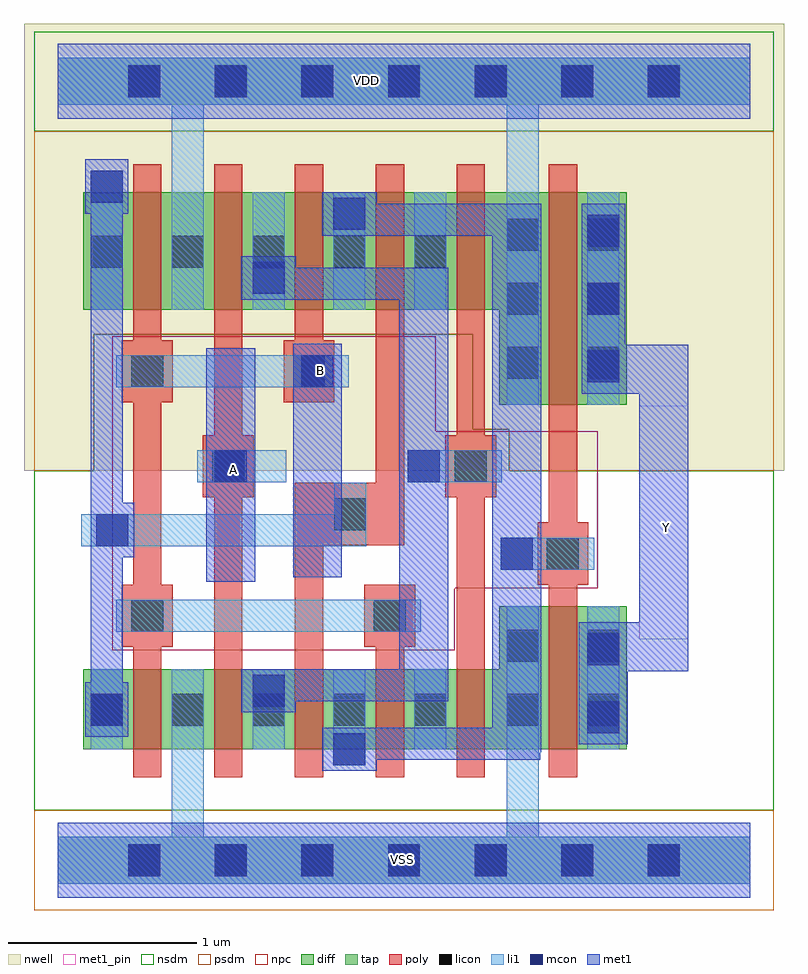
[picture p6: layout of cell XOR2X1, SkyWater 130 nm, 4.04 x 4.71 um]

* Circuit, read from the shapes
.subckt XOR2X1 A B VDD VSS Y
XM1 VSS B n1 VSS sky130_fd_pr__nfet_01v8 w=0.425 l=0.15
XM2 n2 A VSS VSS sky130_fd_pr__nfet_01v8 w=0.425 l=0.15
XM3 n3 n1 n2 VSS sky130_fd_pr__nfet_01v8 w=0.425 l=0.15
XM4 n4 B n3 VSS sky130_fd_pr__nfet_01v8 w=0.425 l=0.15
XM5 VSS n2 n4 VSS sky130_fd_pr__nfet_01v8 w=0.425 l=0.15
XM6 Y n3 VSS VSS sky130_fd_pr__nfet_01v8 w=0.76 l=0.15
XM7 VDD B n1 VDD sky130_fd_pr__pfet_01v8 w=0.625 l=0.15
XM8 n2 A VDD VDD sky130_fd_pr__pfet_01v8 w=0.625 l=0.15
XM9 n3 B n2 VDD sky130_fd_pr__pfet_01v8 w=0.625 l=0.15
XM10 n5 n1 n3 VDD sky130_fd_pr__pfet_01v8 w=0.625 l=0.15
XM11 VDD n2 n5 VDD sky130_fd_pr__pfet_01v8 w=0.625 l=0.15
XM12 Y n3 VDD VDD sky130_fd_pr__pfet_01v8 w=1.13 l=0.15
.ends

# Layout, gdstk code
from math import pi, radians
import gdstk
lib = gdstk.Library(unit=1e-6, precision=1e-09)
def R(c, l, rs):  # rectangles x0, y0, x1, y1
    for r in rs: c.add(gdstk.rectangle(r[:2], r[2:], *l))
def A(c, l, x, y, w, h, nx, ny, dx, dy):  # array of equal rectangles
    R(c, l, [(x+i*dx, y+j*dy, x+i*dx+w, y+j*dy+h) for i in range(nx) for j in range(ny)])
def P(c, l, *ps):  # polygons
    for p in ps: c.add(gdstk.Polygon(p, *l))
nwell = (64, 20)
diff = (65, 20)
tap = (65, 44)
poly = (66, 20)
licon = (66, 44)
li1 = (67, 20)
mcon = (67, 44)
met1_pin = (68, 16)
met1 = (68, 20)
nsdm = (93, 44)
psdm = (94, 20)
npc = (95, 20)

l1m1_c_cdns_750710154091 = lib.new_cell('L1M1_C_CDNS_7507101540910')
R(l1m1_c_cdns_750710154091, li1, [(-0.085,-0.165,0.085,0.085)])
R(l1m1_c_cdns_750710154091, mcon, [(-0.085,-0.085,0.085,0.085)])
R(l1m1_c_cdns_750710154091, met1, [(-0.115,-0.145,0.115,0.145)])

l1m1_c_cdns_750710154094 = lib.new_cell('L1M1_C_CDNS_750710154094')
R(l1m1_c_cdns_750710154094, li1, [(-0.085,-0.345,0.085,0.345)])
R(l1m1_c_cdns_750710154094, mcon, [(-0.085,-0.265,0.085,-0.095), (-0.085,0.095,0.085,0.265)])
R(l1m1_c_cdns_750710154094, met1, [(-0.115,-0.325,0.115,0.325)])

c_l1m1_c_cdns_750710154091 = lib.new_cell('L1M1_C_CDNS_750710154091')
R(c_l1m1_c_cdns_750710154091, li1, [(-0.085,-0.165,0.085,0.165)])
R(c_l1m1_c_cdns_750710154091, mcon, [(-0.085,-0.085,0.085,0.085)])
R(c_l1m1_c_cdns_750710154091, met1, [(-0.115,-0.145,0.115,0.145)])

pyl1con_c_cdns_750710154 = lib.new_cell('PYL1CON_C_CDNS_750710154092')
R(pyl1con_c_cdns_750710154, poly, [(-0.135,-0.165,0.135,0.165)])
R(pyl1con_c_cdns_750710154, licon, [(-0.085,-0.085,0.085,0.085)])
R(pyl1con_c_cdns_750710154, npc, [(-0.185,-0.185,0.185,0.185)])

l1m1_c_cdns_750710154090 = lib.new_cell('L1M1_C_CDNS_750710154090')
R(l1m1_c_cdns_750710154090, li1, [(-0.165,-0.085,0.165,0.085)])
R(l1m1_c_cdns_750710154090, mcon, [(-0.085,-0.085,0.085,0.085)])
R(l1m1_c_cdns_750710154090, met1, [(-0.115,-0.145,0.115,0.145)])

c_l1m1_c_cdns_750710154091_ = lib.new_cell('L1M1_C_CDNS_7507101540915')
R(c_l1m1_c_cdns_750710154091_, li1, [(-0.085,-0.085,0.085,0.085)])
R(c_l1m1_c_cdns_750710154091_, mcon, [(-0.085,-0.085,0.085,0.085)])
R(c_l1m1_c_cdns_750710154091_, met1, [(-0.145,-0.115,0.145,0.115)])

licondiff_c_cdns_7507101 = lib.new_cell('LICONDIFF_C_CDNS_7507101540911')
R(licondiff_c_cdns_7507101, diff, [(-0.125,-0.145,0.125,0.145)])
R(licondiff_c_cdns_7507101, licon, [(-0.085,-0.085,0.085,0.085), (-0.085,-0.085,0.085,0.085)])

l1m1_c_cdns_750710154098 = lib.new_cell('L1M1_C_CDNS_750710154098')
R(l1m1_c_cdns_750710154098, li1, [(-0.085,-0.525,0.085,0.525)])
A(l1m1_c_cdns_750710154098, mcon, -0.085, -0.445, 0.17, 0.17, 1, 3, 0, 0.36)
R(l1m1_c_cdns_750710154098, met1, [(-0.115,-0.505,0.115,0.505)])

c_l1m1_c_cdns_750710154091__ = lib.new_cell('L1M1_C_CDNS_7507101540916')
R(c_l1m1_c_cdns_750710154091__, li1, [(-0.085,-0.165,0.085,0.085)])
R(c_l1m1_c_cdns_750710154091__, mcon, [(-0.085,-0.085,0.085,0.085)])
R(c_l1m1_c_cdns_750710154091__, met1, [(-0.115,-0.13,0.115,0.13)])

xor2x1 = lib.new_cell('XOR2X1')
A(xor2x1, nwell, 0.595, 2.745, 0.79, 0.985, 3, 1, 0.43, 0)
R(xor2x1, nwell, [(-0.18,2.07,3.86,4.305), (2.165,2.24,3.205,3.73), (-0.045,2.745,0.955,3.73), (1.885,2.745,2.525,3.73), (-0.18,3.875,3.86,4.445)])
A(xor2x1, diff, 0.4, 0.59, 0.15, 0.425, 5, 1, 0.43, 0)
A(xor2x1, diff, 0.55, 0.59, 0.225, 0.425, 4, 1, 0.43, 0)
A(xor2x1, diff, 0.775, 0.59, 0.055, 0.425, 4, 1, 0.43, 0)
A(xor2x1, diff, 0.4, 2.925, 0.15, 0.625, 5, 1, 0.43, 0)
A(xor2x1, diff, 0.55, 2.925, 0.225, 0.625, 4, 1, 0.43, 0)
A(xor2x1, diff, 0.775, 2.925, 0.055, 0.625, 4, 1, 0.43, 0)
R(xor2x1, diff, [(0.135,0.59,0.4,1.015), (2.27,0.59,2.345,1.015), (2.345,0.59,2.61,1.35), (2.61,0.59,2.76,1.35), (2.76,0.59,3.025,1.35), (2.345,2.42,2.61,3.55), (2.61,2.42,2.76,3.55), (2.76,2.42,3.025,3.55), (0.135,2.925,0.4,3.55), (2.27,2.925,2.345,3.55)])
A(xor2x1, poly, 0.4, 0.44, 0.15, 0.055, 5, 2, 0.43, 0.67)
A(xor2x1, poly, 0.4, 0.495, 0.15, 0.095, 5, 2, 0.43, 0.52)
A(xor2x1, poly, 0.4, 0.59, 0.15, 0.425, 5, 1, 0.43, 0)
A(xor2x1, poly, 0.4, 2.775, 0.15, 0.055, 5, 2, 0.43, 0.87)
A(xor2x1, poly, 0.4, 2.83, 0.15, 0.095, 5, 2, 0.43, 0.72)
A(xor2x1, poly, 0.4, 2.925, 0.15, 0.625, 5, 1, 0.43, 0)
R(xor2x1, poly, [(2.61,0.44,2.76,0.495), (2.61,0.495,2.76,0.59), (2.61,0.59,2.76,1.35), (2.61,1.35,2.76,1.445), (2.61,1.445,2.76,1.5), (2.61,2.27,2.76,2.325), (2.61,2.325,2.76,2.42), (2.61,2.42,2.76,3.55), (2.61,3.55,2.76,3.645), (2.61,3.645,2.76,3.7)])
A(xor2x1, licon, 0.375, -0.085, 0.17, 0.17, 7, 2, 0.46, 4.14)
A(xor2x1, licon, 0.175, 0.715, 0.17, 0.17, 4, 2, 0.43, 2.435)
A(xor2x1, licon, 2.385, 2.56, 0.17, 0.17, 1, 3, 0, 0.34)
A(xor2x1, licon, 2.815, 2.56, 0.17, 0.17, 1, 3, 0, 0.34)
R(xor2x1, licon, [(2.385,0.715,2.555,0.885), (2.815,0.715,2.985,0.885), (2.385,1.055,2.555,1.225), (2.815,1.055,2.985,1.225)])
A(xor2x1, li1, 0.175, 0.59, 0.17, 0.425, 4, 1, 0.43, 0)
A(xor2x1, li1, 0.175, 2.925, 0.17, 0.625, 4, 1, 0.43, 0)
R(xor2x1, li1, [(2.385,0.59,2.555,1.35), (2.815,0.59,2.985,1.35), (2.385,2.42,2.555,3.55), (2.815,2.42,2.985,3.55)])
A(xor2x1, mcon, 0.375, -0.085, 0.17, 0.17, 7, 2, 0.46, 4.14)
R(xor2x1, met1_pin, [(3.09,1.175,3.35,2.415), (0.79,1.48,1.05,2.72), (1.25,1.505,1.51,2.745)])
A(xor2x1, nsdm, 0.765, 0.46, 0.45, 0.685, 3, 1, 0.43, 0)
R(xor2x1, nsdm, [(-0.005,0.46,0.785,1.145), (2.055,0.46,2.225,1.145), (2.205,0.46,3.165,1.48), (-0.125,3.875,3.805,4.405), (-0.125,3.93,3.805,4.35)])
P(xor2x1, nsdm, [(3.805,2.07),(2.4,2.07),(2.4,2.29),(2.205,2.29),(2.205,2.795),(0.19,2.795),(0.19,2.07),(-0.125,2.07),(-0.125,0.265),(3.805,0.265)])
A(xor2x1, psdm, 0.765, 2.795, 0.45, 0.885, 3, 1, 0.43, 0)
R(xor2x1, psdm, [(-0.125,-0.265,3.805,0.265), (-0.125,-0.21,3.805,0.21), (2.205,2.29,3.165,3.68), (-0.005,2.795,0.785,3.68), (2.055,2.795,2.225,3.68)])
P(xor2x1, psdm, [(3.805,3.875),(-0.125,3.875),(-0.125,2.07),(0.19,2.07),(0.19,2.795),(2.205,2.795),(2.205,2.29),(2.4,2.29),(2.4,2.07),(3.805,2.07)])
P(xor2x1, npc, [(2.87,2.28),(2.01,2.28),(2.01,2.785),(0.29,2.785),(0.29,1.115),(2.11,1.115),(2.11,1.445),(2.87,1.445)])
xor2x1.add(gdstk.FlexPath([(2.685,2.27),(2.685,1.44)], 0.15, ends="flush", simple_path=True, layer=66, datatype=20))  # poly
xor2x1.add(gdstk.FlexPath([(2.195,2.775),(2.195,1.165)], 0.15, ends="flush", simple_path=True, layer=66, datatype=20))  # poly
xor2x1.add(gdstk.FlexPath([(1.335,2.775),(1.335,2.6)], 0.15, ends="flush", simple_path=True, layer=66, datatype=20))  # poly
xor2x1.add(gdstk.FlexPath([(1.765,2.775),(1.765,1.815)], 0.15, ends=(0, 0.14), simple_path=True, layer=66, datatype=20))  # poly
xor2x1.add(gdstk.FlexPath([(1.395,1.84),(1.69,1.84)], 0.33, ends="flush", simple_path=True, layer=66, datatype=20))  # poly
xor2x1.add(gdstk.FlexPath([(1.335,1.865),(1.335,1.165)], 0.15, ends=(0.14, 0), simple_path=True, layer=66, datatype=20))  # poly
xor2x1.add(gdstk.FlexPath([(1.765,1.165),(1.765,1.34)], 0.15, ends="flush", simple_path=True, layer=66, datatype=20))  # poly
xor2x1.add(gdstk.FlexPath([(0.905,2.775),(0.905,1.135)], 0.15, ends="flush", simple_path=True, layer=66, datatype=20))  # poly
xor2x1.add(gdstk.FlexPath([(0.475,2.775),(0.475,1.165)], 0.15, ends="flush", simple_path=True, layer=66, datatype=20))  # poly
xor2x1.add(gdstk.FlexPath([(2.47,0),(3.42,0)], 0.25, ends=(0.085, 0.085), simple_path=True, layer=67, datatype=20))  # li1
xor2x1.add(gdstk.FlexPath([(3.42,0),(3.595,0)], 0.25, ends=(0.085, 0.085), simple_path=True, layer=67, datatype=20))  # li1
xor2x1.add(gdstk.FlexPath([(0.69,0),(2.47,0)], 0.25, ends=(0.085, 0.085), simple_path=True, layer=67, datatype=20))  # li1
xor2x1.add(gdstk.FlexPath([(3.595,0),(3.68,0)], 0.25, ends=(0.085, 0), simple_path=True, layer=67, datatype=20))  # li1
xor2x1.add(gdstk.FlexPath([(0,0),(0.69,0)], 0.25, ends=(0, 0.085), simple_path=True, layer=67, datatype=20))  # li1
xor2x1.add(gdstk.FlexPath([(2.47,4.14),(3.42,4.14)], 0.25, ends=(0.085, 0.085), simple_path=True, layer=67, datatype=20))  # li1
xor2x1.add(gdstk.FlexPath([(0,4.14),(0.69,4.14)], 0.25, ends=(0, 0.085), simple_path=True, layer=67, datatype=20))  # li1
xor2x1.add(gdstk.FlexPath([(3.42,4.14),(3.595,4.14)], 0.25, ends=(0.085, 0.085), simple_path=True, layer=67, datatype=20))  # li1
xor2x1.add(gdstk.FlexPath([(0.69,4.14),(2.47,4.14)], 0.25, ends=(0.085, 0.085), simple_path=True, layer=67, datatype=20))  # li1
xor2x1.add(gdstk.FlexPath([(2.435,1.63),(2.85,1.63)], 0.17, ends="flush", simple_path=True, layer=67, datatype=20))  # li1
xor2x1.add(gdstk.FlexPath([(1.215,2.095),(0.74,2.095)], 0.17, ends="flush", simple_path=True, layer=67, datatype=20))  # li1
xor2x1.add(gdstk.FlexPath([(0.31,2.6),(1.5,2.6)], 0.17, ends="flush", simple_path=True, layer=67, datatype=20))  # li1
xor2x1.add(gdstk.FlexPath([(0.25,1.755),(1.64,1.755)], 0.17, ends="flush", simple_path=True, layer=67, datatype=20))  # li1
xor2x1.add(gdstk.FlexPath([(0.31,1.3),(1.93,1.3)], 0.17, ends="flush", simple_path=True, layer=67, datatype=20))  # li1
xor2x1.add(gdstk.FlexPath([(0.69,0.59),(0.69,0)], 0.17, ends=(0, 0.085), simple_path=True, layer=67, datatype=20))  # li1
xor2x1.add(gdstk.FlexPath([(3.595,4.14),(3.68,4.14)], 0.25, ends=(0.085, 0), simple_path=True, layer=67, datatype=20))  # li1
xor2x1.add(gdstk.FlexPath([(1.945,2.095),(2.36,2.095)], 0.17, ends="flush", simple_path=True, layer=67, datatype=20))  # li1
xor2x1.add(gdstk.FlexPath([(2.47,0),(2.47,0.59)], 0.17, ends=(0.085, 0), simple_path=True, layer=67, datatype=20))  # li1
xor2x1.add(gdstk.FlexPath([(0.69,0),(2.47,0)], 0.17, ends="extended", simple_path=True, layer=67, datatype=20))  # li1
xor2x1.add(gdstk.FlexPath([(0.69,3.55),(0.69,4.14)], 0.17, ends=(0, 0.085), simple_path=True, layer=67, datatype=20))  # li1
xor2x1.add(gdstk.FlexPath([(2.47,3.55),(2.47,4.14)], 0.17, ends=(0, 0.085), simple_path=True, layer=67, datatype=20))  # li1
xor2x1.add(gdstk.FlexPath([(2.47,4.14),(0.69,4.14)], 0.17, ends="extended", simple_path=True, layer=67, datatype=20))  # li1
xor2x1.add(gdstk.FlexPath([(1.98,2.925),(1.98,3.55)], 0.17, ends="flush", simple_path=True, layer=67, datatype=20))  # li1
xor2x1.add(gdstk.FlexPath([(1.98,0.59),(1.98,1.015)], 0.17, ends="flush", simple_path=True, layer=67, datatype=20))  # li1
xor2x1.add(gdstk.FlexPath([(1.555,1.84),(1.555,2.005)], 0.17, ends="flush", simple_path=True, layer=67, datatype=20))  # li1
xor2x1.add(gdstk.FlexPath([(0,0),(3.68,0)], 0.4, ends="flush", simple_path=True, layer=68, datatype=16))  # met1_pin
xor2x1.add(gdstk.FlexPath([(0,4.14),(3.68,4.14)], 0.4, ends="flush", simple_path=True, layer=68, datatype=16))  # met1_pin
xor2x1.add(gdstk.FlexPath([(0,4.14),(3.68,4.14)], 0.25, ends="flush", simple_path=True, layer=65, datatype=44))  # tap
xor2x1.add(gdstk.FlexPath([(0,0),(3.68,0)], 0.25, ends="flush", simple_path=True, layer=65, datatype=44))  # tap
xor2x1.add(gdstk.FlexPath([(0,4.14),(3.68,4.14)], 0.4, ends="flush", simple_path=True, layer=68, datatype=20))  # met1
xor2x1.add(gdstk.FlexPath([(3.22,1.175),(3.22,1.135)], 0.26, ends=(0, 0.13), simple_path=True, layer=68, datatype=20))  # met1
xor2x1.add(gdstk.FlexPath([(3.22,1.135),(2.9,1.135)], 0.26, ends="extended", simple_path=True, layer=68, datatype=20))  # met1
xor2x1.add(gdstk.FlexPath([(2.9,1.065),(2.9,0.94)], 0.26, ends=(0.13, 0.325), simple_path=True, layer=68, datatype=20))  # met1
xor2x1.add(gdstk.FlexPath([(3.22,2.415),(3.22,2.61)], 0.26, ends=(0, 0.13), simple_path=True, layer=68, datatype=20))  # met1
xor2x1.add(gdstk.FlexPath([(3.22,2.61),(2.9,2.61)], 0.26, ends=(0.13, 0), simple_path=True, layer=68, datatype=20))  # met1
xor2x1.add(gdstk.FlexPath([(1.405,3.405),(2.44,3.405)], 0.17, ends=(0, 0.13), simple_path=True, layer=68, datatype=20))  # met1
xor2x1.add(gdstk.FlexPath([(2.435,0.62),(1.405,0.62)], 0.17, ends=(0.13, 0), simple_path=True, layer=68, datatype=20))  # met1
xor2x1.add(gdstk.FlexPath([(2.44,3.405),(2.44,2.165)], 0.26, ends=(0.085, 0), simple_path=True, layer=68, datatype=20))  # met1
xor2x1.add(gdstk.FlexPath([(2.44,2.165),(2.44,0.66)], 0.26, ends=(0, 0.085), simple_path=True, layer=68, datatype=20))  # met1
xor2x1.add(gdstk.FlexPath([(0.975,3.065),(1.945,3.065)], 0.17, ends=(0, 0.13), simple_path=True, layer=68, datatype=20))  # met1
xor2x1.add(gdstk.FlexPath([(1.945,3.065),(1.945,2.165)], 0.26, ends=(0.085, 0), simple_path=True, layer=68, datatype=20))  # met1
xor2x1.add(gdstk.FlexPath([(1.945,0.93),(1.12,0.93)], 0.17, ends=(0.13, 0), simple_path=True, layer=68, datatype=20))  # met1
xor2x1.add(gdstk.FlexPath([(1.945,2.165),(1.945,0.97)], 0.26, ends=(0, 0.085), simple_path=True, layer=68, datatype=20))  # met1
xor2x1.add(gdstk.FlexPath([(0.26,0.655),(0.26,3.725)], 0.17, ends="flush", simple_path=True, layer=68, datatype=20))  # met1
xor2x1.add(gdstk.FlexPath([(0.92,1.48),(0.92,2.72)], 0.26, ends="flush", simple_path=True, layer=68, datatype=20))  # met1
xor2x1.add(gdstk.FlexPath([(1.38,1.505),(1.38,2.745)], 0.26, ends="flush", simple_path=True, layer=68, datatype=20))  # met1
xor2x1.add(gdstk.FlexPath([(3.22,1.175),(3.22,2.415)], 0.26, ends="flush", simple_path=True, layer=68, datatype=20))  # met1
xor2x1.add(gdstk.FlexPath([(0,0),(3.68,0)], 0.4, ends="flush", simple_path=True, layer=68, datatype=20))  # met1
xor2x1.add(gdstk.Reference(l1m1_c_cdns_750710154091, (0.26,3.58)))
xor2x1.add(gdstk.Reference(l1m1_c_cdns_750710154094, (2.9,0.94)))
xor2x1.add(gdstk.Reference(c_l1m1_c_cdns_750710154091, (0.26,0.8)))
xor2x1.add(gdstk.Reference(pyl1con_c_cdns_750710154, (2.685,1.63), rotation=pi))
xor2x1.add(gdstk.Reference(pyl1con_c_cdns_750710154, (2.195,2.095), rotation=pi))
xor2x1.add(gdstk.Reference(pyl1con_c_cdns_750710154, (0.905,2.095), rotation=pi))
xor2x1.add(gdstk.Reference(pyl1con_c_cdns_750710154, (1.335,2.6), rotation=pi))
xor2x1.add(gdstk.Reference(pyl1con_c_cdns_750710154, (0.475,2.6), rotation=pi))
xor2x1.add(gdstk.Reference(pyl1con_c_cdns_750710154, (1.555,1.84), rotation=pi))
xor2x1.add(gdstk.Reference(pyl1con_c_cdns_750710154, (1.765,1.3), rotation=pi))
xor2x1.add(gdstk.Reference(pyl1con_c_cdns_750710154, (0.475,1.3), rotation=pi))
xor2x1.add(gdstk.Reference(l1m1_c_cdns_750710154090, (1.38,2.6), x_reflection=True))
xor2x1.add(gdstk.Reference(l1m1_c_cdns_750710154090, (0.92,2.095), x_reflection=True))
xor2x1.add(gdstk.Reference(l1m1_c_cdns_750710154090, (0.29,1.755), rotation=pi, x_reflection=True))
xor2x1.add(gdstk.Reference(c_l1m1_c_cdns_750710154091_, (1.55,3.435), rotation=pi))
xor2x1.add(gdstk.Reference(c_l1m1_c_cdns_750710154091_, (1.12,0.9), rotation=pi))
xor2x1.add(gdstk.Reference(c_l1m1_c_cdns_750710154091_, (1.55,0.59), rotation=pi))
xor2x1.add(gdstk.Reference(c_l1m1_c_cdns_750710154091_, (1.12,3.095), rotation=pi))
xor2x1.add(gdstk.Reference(licondiff_c_cdns_7507101, (1.98,0.8)))
xor2x1.add(gdstk.Reference(licondiff_c_cdns_7507101, (1.98,3.235)))
xor2x1.add(gdstk.Reference(l1m1_c_cdns_750710154098, (2.9,2.985)))
xor2x1.add(gdstk.Reference(c_l1m1_c_cdns_750710154091__, (1.945,2.095), rotation=pi/2))
xor2x1.add(gdstk.Reference(c_l1m1_c_cdns_750710154091__, (2.44,1.63), rotation=pi/2))
xor2x1.add(gdstk.Label('VDD', (1.64,4.145), layer=68, texttype=16))
xor2x1.add(gdstk.Label('B', (1.395,2.605), layer=68, texttype=16))
xor2x1.add(gdstk.Label('Y', (3.235,1.77), layer=68, texttype=16))
xor2x1.add(gdstk.Label('A', (0.935,2.075), layer=68, texttype=16))
xor2x1.add(gdstk.Label('VSS', (1.83,0.005), layer=68, texttype=16))

lib.write_gds('XOR2X1.gds')
